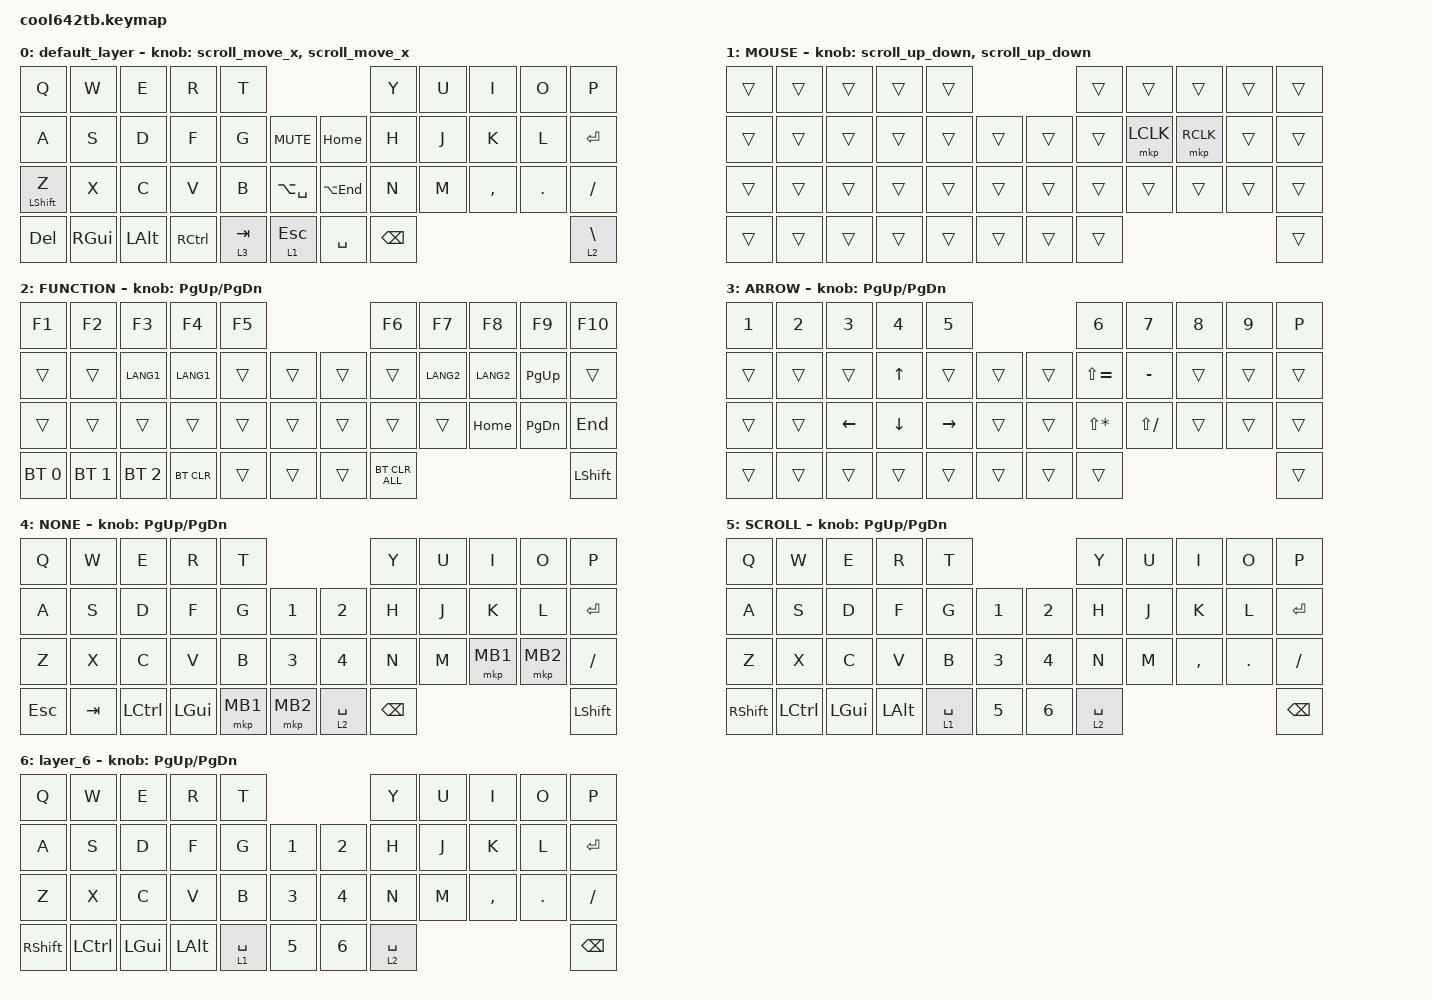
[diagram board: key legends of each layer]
#include <behaviors.dtsi>
#include <dt-bindings/zmk/bt.h>
#include <dt-bindings/zmk/keys.h>
#include <dt-bindings/zmk/pointing.h>

#define ZMK_MOUSE_DEFAULT_SCRL_VAL 100
#define MOUSE 4
#define SCROLL 5
#define NUM 6

&mt {
    flavor = "balanced";
    quick-tap-ms = <0>;
};

/ {
    combos {
        compatible = "zmk,combos";

        CLANG1 {
            bindings = <&kp LANG1>;
            key-positions = <12 13>;
        };

        CLANG2 {
            bindings = <&kp LANG2>;
            key-positions = <19 18>;
        };

        BTALLCRL {
            bindings = <&bt BT_CLR_ALL>;
            key-positions = <15 16>;
        };
    };

    macros {
        to_layer_0: to_layer_0 {
            compatible = "zmk,behavior-macro-one-param";
            #binding-cells = <1>;
            bindings = <&to 0 &macro_param_1to1 &kp MACRO_PLACEHOLDER>;
            label = "TO_LAYER_0";
        };
    };

    behaviors {
        lt_to_layer_0: lt_to_layer_0 {
            compatible = "zmk,behavior-hold-tap";
            label = "LAYER_TAP_TO_0";
            bindings = <&mo>, <&to_layer_0>;

            #binding-cells = <2>;
            tapping-term-ms = <200>;
        };

        scroll_up_down: behavior_sensor_rotate_mouse_wheel_up_down {
            compatible = "zmk,behavior-sensor-rotate";
            #sensor-binding-cells = <0>;
            bindings = <&msc SCRL_UP>, <&msc SCRL_DOWN>;

            tap-ms = <20>;
        };
    };

    // エンコーダー：キー

    rot_kp: sensor_rotate_kp {
        compatible = "zmk,behavior-sensor-rotate-var";
        #sensor-binding-cells = <2>;
        bindings = <&kp>, <&kp>;
    };

    // エンコーダー：マウススクロール 

    rot_msc: sensor_rotate_msc {
        compatible = "zmk,behavior-sensor-rotate-var";
        #sensor-binding-cells = <2>;
        tap-ms = <20>;
        bindings = <&msc>, <&msc>;
    };

    // エンコーダー：マウススクロール(MOVE_Y)

    scroll_move_y: sensor_rotate_msc_for_move_y {
        compatible = "zmk,behavior-sensor-rotate";
        #sensor-binding-cells = <0>;
        bindings = <&msc MOVE_Y(20)>, <&msc MOVE_Y(-20)>;

        // tap-ms下限メモ Yの値で可変: Y(15) <81>, Y(20) <65>, Y(25) <49>

        tap-ms = <65>;
    };

    // エンコーダー：マウススクロール(MOVE_X)

    scroll_move_x: sensor_rotate_msc_for_move_x {
        compatible = "zmk,behavior-sensor-rotate";
        #sensor-binding-cells = <0>;
        bindings = <&msc MOVE_X(20)>, <&msc MOVE_X(-20)>;

        // tap-ms下限メモ Xの値で可変: X(15) <81>, X(20) <65>, X(25) <49>

        tap-ms = <65>;
    };

    keymap {
        compatible = "zmk,keymap";

        default_layer {
            bindings = <
&kp Q             &kp W          &kp E         &kp R      &kp T                                  &kp Y          &kp U  &kp I      &kp O       &kp P
&kp A             &kp S          &kp D         &kp F      &kp G      &kp C_MUTE     &kp HOME     &kp H          &kp J  &kp K      &kp L       &kp ENTER
&mt LEFT_SHIFT Z  &kp X          &kp C         &kp V      &kp B      &kp LA(SPACE)  &kp LA(END)  &kp N          &kp M  &kp COMMA  &kp PERIOD  &kp SLASH
&kp DELETE        &kp RIGHT_GUI  &kp LEFT_ALT  &kp RCTRL  &lt 3 TAB  &lt 1 ESCAPE   &kp SPACE    &kp BACKSPACE                                &lt 2 BACKSLASH
            >;

            sensor-bindings = <&scroll_move_x>, <&scroll_move_x>;
        };

        MOUSE {
            bindings = <
&trans  &trans  &trans  &trans  &trans                  &trans  &trans     &trans     &trans  &trans
&trans  &trans  &trans  &trans  &trans  &trans  &trans  &trans  &mkp LCLK  &mkp RCLK  &trans  &trans
&trans  &trans  &trans  &trans  &trans  &trans  &trans  &trans  &trans     &trans     &trans  &trans
&trans  &trans  &trans  &trans  &trans  &trans  &trans  &trans                                &trans
            >;

            sensor-bindings = <&scroll_up_down>, <&scroll_up_down>;
        };

        FUNCTION {
            bindings = <
&kp F1        &kp F2        &kp F3        &kp F4      &kp F5                  &kp F6          &kp F7     &kp F8     &kp F9         &kp F10
&trans        &trans        &kp LANG1     &kp LANG1   &trans  &trans  &trans  &trans          &kp LANG2  &kp LANG2  &kp PAGE_UP    &trans
&trans        &trans        &trans        &trans      &trans  &trans  &trans  &trans          &trans     &kp HOME   &kp PAGE_DOWN  &kp END
&bt BT_SEL 0  &bt BT_SEL 1  &bt BT_SEL 2  &bt BT_CLR  &trans  &trans  &trans  &bt BT_CLR_ALL                                       &kp LEFT_SHIFT
            >;

            sensor-bindings = <&inc_dec_kp PG_UP PAGE_DOWN>;
        };

        ARROW {
            bindings = <
&kp NUMBER_1  &kp NUMBER_2  &kp NUMBER_3    &kp NUMBER_4    &kp N5                           &kp NUMBER_6   &kp N7         &kp NUMBER_8  &kp N9  &kp P
&trans        &trans        &trans          &kp UP_ARROW    &trans           &trans  &trans  &kp LS(EQUAL)  &kp MINUS      &trans        &trans  &trans
&trans        &trans        &kp LEFT_ARROW  &kp DOWN_ARROW  &kp RIGHT_ARROW  &trans  &trans  &kp LS(ASTRK)  &kp LS(SLASH)  &trans        &trans  &trans
&trans        &trans        &trans          &trans          &trans           &trans  &trans  &trans                                              &trans
            >;

            sensor-bindings = <&inc_dec_kp PG_UP PAGE_DOWN>;
        };

        NONE {
            bindings = <
&kp Q       &kp W    &kp E             &kp R         &kp T                            &kp Y          &kp U  &kp I     &kp O     &kp P
&kp A       &kp S    &kp D             &kp F         &kp G     &kp N1    &kp N2       &kp H          &kp J  &kp K     &kp L     &kp ENTER
&kp Z       &kp X    &kp C             &kp V         &kp B     &kp N3    &kp N4       &kp N          &kp M  &mkp MB1  &mkp MB2  &kp SLASH
&kp ESCAPE  &kp TAB  &kp LEFT_CONTROL  &kp LEFT_GUI  &mkp MB1  &mkp MB2  &lt 2 SPACE  &kp BACKSPACE                             &kp LEFT_SHIFT
            >;

            sensor-bindings = <&inc_dec_kp PG_UP PAGE_DOWN>;
        };

        SCROLL {
            bindings = <
&kp Q       &kp W      &kp E     &kp R     &kp T                        &kp Y        &kp U  &kp I      &kp O       &kp P
&kp A       &kp S      &kp D     &kp F     &kp G        &kp N1  &kp N2  &kp H        &kp J  &kp K      &kp L       &kp ENTER
&kp Z       &kp X      &kp C     &kp V     &kp B        &kp N3  &kp N4  &kp N        &kp M  &kp COMMA  &kp PERIOD  &kp SLASH
&kp RSHIFT  &kp LCTRL  &kp LGUI  &kp LALT  &lt 1 SPACE  &kp N5  &kp N6  &lt 2 SPACE                                &kp BSPC
            >;

            sensor-bindings = <&inc_dec_kp PG_UP PAGE_DOWN>;
        };

        layer_6 {
            bindings = <
&kp Q       &kp W      &kp E     &kp R     &kp T                        &kp Y        &kp U  &kp I      &kp O       &kp P
&kp A       &kp S      &kp D     &kp F     &kp G        &kp N1  &kp N2  &kp H        &kp J  &kp K      &kp L       &kp ENTER
&kp Z       &kp X      &kp C     &kp V     &kp B        &kp N3  &kp N4  &kp N        &kp M  &kp COMMA  &kp PERIOD  &kp SLASH
&kp RSHIFT  &kp LCTRL  &kp LGUI  &kp LALT  &lt 1 SPACE  &kp N5  &kp N6  &lt 2 SPACE                                &kp BSPC
            >;

            sensor-bindings = <&inc_dec_kp PG_UP PAGE_DOWN>;
        };
    };
};
